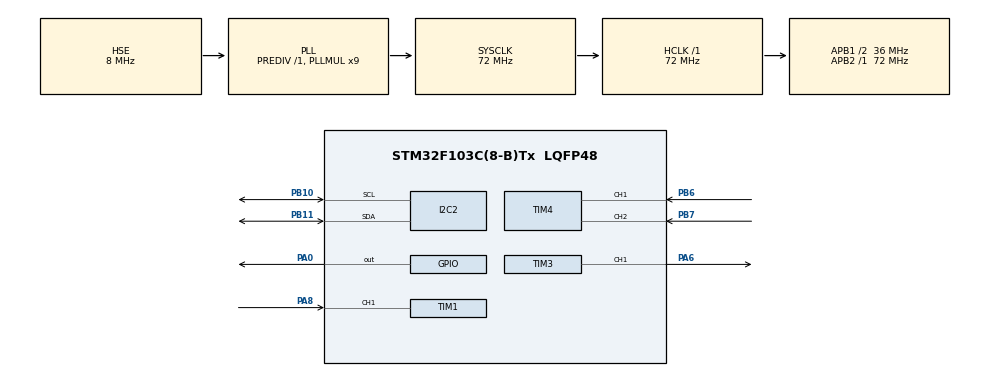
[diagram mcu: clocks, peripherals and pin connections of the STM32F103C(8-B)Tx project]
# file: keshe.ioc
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Mcu.Family=STM32F1
Mcu.Name=STM32F103C(8-B)Tx
Mcu.Package=LQFP48
NVIC.PriorityGroup=NVIC_PRIORITYGROUP_4
NVIC.TIM1_CC_IRQn=true\:14\:0\:true\:false\:true\:true\:true\:true
NVIC.TIM1_UP_IRQn=true\:0\:0\:false\:false\:true\:true\:true\:true
PA0-WKUP.Signal=GPIO_Output
PA13.Mode=Serial_Wire
PA13.Signal=SYS_JTMS-SWDIO
PA14.Mode=Serial_Wire
PA14.Signal=SYS_JTCK-SWCLK
PA6.Signal=S_TIM3_CH1
PA8.Signal=S_TIM1_CH1
PB10.Mode=I2C
PB10.Signal=I2C2_SCL
PB11.Mode=I2C
PB11.Signal=I2C2_SDA
PB6.Signal=S_TIM4_CH1
PB7.Signal=S_TIM4_CH2
PD0-OSC_IN.Mode=HSE-External-Oscillator
PD0-OSC_IN.Signal=RCC_OSC_IN
PD1-OSC_OUT.Mode=HSE-External-Oscillator
PD1-OSC_OUT.Signal=RCC_OSC_OUT
ProjectManager.HeapSize=0x200
ProjectManager.StackSize=0x400
ProjectManager.TargetToolchain=MDK-ARM V5.32
RCC.AHBFreq_Value=72000000
RCC.APB1CLKDivider=RCC_HCLK_DIV2
RCC.APB1Freq_Value=36000000
RCC.APB1TimFreq_Value=72000000
RCC.APB2Freq_Value=72000000
RCC.APB2TimFreq_Value=72000000
RCC.HCLKFreq_Value=72000000
RCC.PLLMUL=RCC_PLL_MUL9
RCC.PLLSourceVirtual=RCC_PLLSOURCE_HSE
RCC.SYSCLKFreq_VALUE=72000000
RCC.SYSCLKSource=RCC_SYSCLKSOURCE_PLLCLK
RCC.USBFreq_Value=72000000
SH.S_TIM1_CH1.0=TIM1_CH1,Input_Capture1_from_TI1
SH.S_TIM3_CH1.0=TIM3_CH1,PWM Generation1 CH1
SH.S_TIM4_CH1.0=TIM4_CH1,Encoder_Interface
SH.S_TIM4_CH2.0=TIM4_CH2,Encoder_Interface
TIM1.Channel-Input_Capture1_from_TI1=TIM_CHANNEL_1
TIM1.Channel-Input_Capture2_from_TI1_63=TIM_CHANNEL_2
TIM1.ICPolarity_CH2=TIM_INPUTCHANNELPOLARITY_FALLING
TIM1.Period=65535
TIM1.Prescaler=72-1
TIM3.Channel-PWM\ Generation1\ CH1=TIM_CHANNEL_1
TIM3.Period=2000-1
TIM3.Prescaler=720-1
TIM4.IC1Prescaler=TIM_ICPSC_DIV1
VP_TIM1_VS_ClockSourceINT.Mode=Internal
VP_TIM1_VS_indirect_ch1.Mode=Input_Capture2_from_TI1_63
VP_TIM3_VS_ClockSourceINT.Mode=Internal
board=custom

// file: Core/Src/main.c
/* USER CODE BEGIN Header */
/**
  ******************************************************************************
  * @file           : main.c
  * @brief          : Main program body
  ******************************************************************************
  * @attention
  *
  * Copyright (c) 2025 STMicroelectronics.
  * All rights reserved.
  *
  * This software is licensed under terms that can be found in the LICENSE file
  * in the root directory of this software component.
  * If no LICENSE file comes with this software, it is provided AS-IS.
  *
  ******************************************************************************
  */
/* USER CODE END Header */
#include "main.h"
#include "i2c.h"
#include "tim.h"
#include "gpio.h"

/* USER CODE BEGIN Includes */
#include "encoder.h"
#include "oled.h"
#include "stdio.h"
#include "string.h"
#include "control.h"
#include "capture.h"
/* USER CODE END Includes */

/* USER CODE BEGIN PTD */
char encoder_counter[15] = "1"; // Example string to display
char distance_counter[15] = "1"; // Example string to display
/* USER CODE END PTD */

/* USER CODE BEGIN PD */
extern float distance; // Declare the distance variable as extern to use it in the main file
/* USER CODE END PD */

/* USER CODE BEGIN PV */
void HAL_TIM_IC_CaptureCallback(TIM_HandleTypeDef *htim)
{
  if(htim->Instance == TIM1 && htim->Channel == HAL_TIM_ACTIVE_CHANNEL_2)
  {
    Distance_Get();
  }
}
/* USER CODE END PV */

void SystemClock_Config(void);

int main(void)
{

  /* MCU Configuration--------------------------------------------------------*/

  /* Reset of all peripherals, Initializes the Flash interface and the Systick. */
  HAL_Init();

  /* Configure the system clock */
  SystemClock_Config();

  /* Initialize all configured peripherals */
  MX_GPIO_Init();
  MX_I2C2_Init();
  MX_TIM1_Init();
  MX_TIM4_Init();
  MX_TIM3_Init();
  /* USER CODE BEGIN 2 */
  HAL_Delay(1000); // Delay for 1 second to ensure all peripherals are ready

  HAL_TIM_Encoder_Start(&htim4, TIM_CHANNEL_ALL); // Start the encoder timer
  HAL_TIM_PWM_Start(&htim3 , TIM_CHANNEL_1);// Start the PWM timer
  //__HAL_TIM_SET_COMPARE(&htim1, TIM_CHANNEL_1, 7725);
  OLED_Init();
  OLED_NewFrame();

  OLED_DrawLine(1, 1, 20, 50, OLED_COLOR_NORMAL);

  OLED_ShowFrame();
  Distance_Init();
  /* USER CODE END 2 */

  /* Infinite loop */
  /* USER CODE BEGIN WHILE */
  while (1)
  {
    Distance_Start();
    OLED_NewFrame();
    sprintf(distance_counter, "D: %.3f cm",distance);
    sprintf(encoder_counter, "E: %d", encoder_value());
    OLED_PrintString(2, 5,encoder_counter,&font16x16, OLED_COLOR_NORMAL);
    OLED_PrintString(2, 30,distance_counter,&font16x16, OLED_COLOR_NORMAL);
    OLED_ShowFrame();
    PWM_SET();
    //  for(int i =50; i<250; i+=10)
    //  {
    //    __HAL_TIM_SET_COMPARE(&htim1, TIM_CHANNEL_1, i);
    //    HAL_Delay(100);
    //  }
    /* USER CODE END WHILE */

  }
}

void SystemClock_Config(void)
{
  RCC_OscInitTypeDef RCC_OscInitStruct = {0};
  RCC_ClkInitTypeDef RCC_ClkInitStruct = {0};

  /** Initializes the RCC Oscillators according to the specified parameters
  * in the RCC_OscInitTypeDef structure.
  */
  RCC_OscInitStruct.OscillatorType = RCC_OSCILLATORTYPE_HSE;
  RCC_OscInitStruct.HSEState = RCC_HSE_ON;
  RCC_OscInitStruct.HSEPredivValue = RCC_HSE_PREDIV_DIV1;
  RCC_OscInitStruct.HSIState = RCC_HSI_ON;
  RCC_OscInitStruct.PLL.PLLState = RCC_PLL_ON;
  RCC_OscInitStruct.PLL.PLLSource = RCC_PLLSOURCE_HSE;
  RCC_OscInitStruct.PLL.PLLMUL = RCC_PLL_MUL9;
  if (HAL_RCC_OscConfig(&RCC_OscInitStruct) != HAL_OK)
  {
    Error_Handler();
  }

  /** Initializes the CPU, AHB and APB buses clocks
  */
  RCC_ClkInitStruct.ClockType = RCC_CLOCKTYPE_HCLK|RCC_CLOCKTYPE_SYSCLK
                              |RCC_CLOCKTYPE_PCLK1|RCC_CLOCKTYPE_PCLK2;
  RCC_ClkInitStruct.SYSCLKSource = RCC_SYSCLKSOURCE_PLLCLK;
  RCC_ClkInitStruct.AHBCLKDivider = RCC_SYSCLK_DIV1;
  RCC_ClkInitStruct.APB1CLKDivider = RCC_HCLK_DIV2;
  RCC_ClkInitStruct.APB2CLKDivider = RCC_HCLK_DIV1;

  if (HAL_RCC_ClockConfig(&RCC_ClkInitStruct, FLASH_LATENCY_2) != HAL_OK)
  {
    Error_Handler();
  }
}

void Error_Handler(void)
{
  __disable_irq();
  while (1)
  {
  }
}
